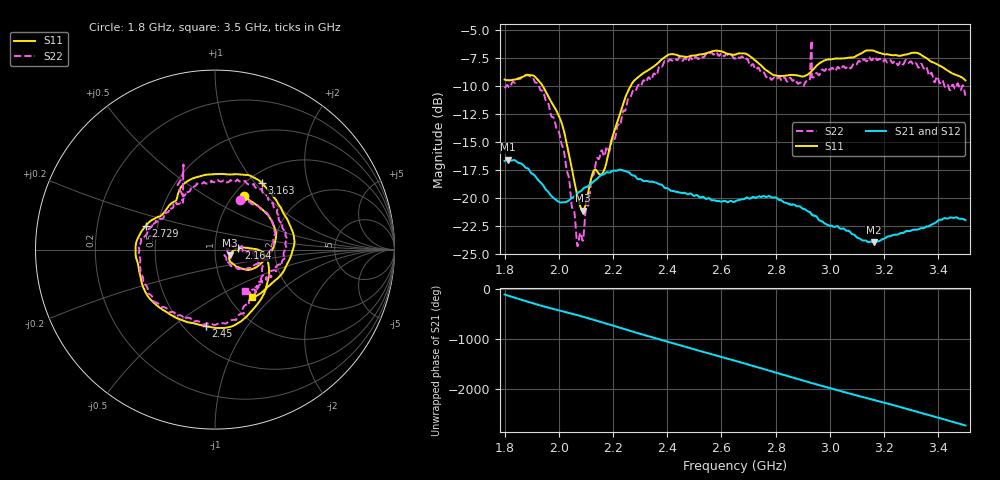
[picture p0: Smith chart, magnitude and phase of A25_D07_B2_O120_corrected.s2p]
! Created with skrf 1.9.0 (http://scikit-rf.org).
# Hz S RI R 50.0
!freq ReS11 ImS11 ReS21 ImS21 ReS12 ImS12 ReS22 ImS22
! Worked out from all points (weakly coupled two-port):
!   1601 points, 1.8 GHz to 3.5 GHz, reference 50 ohm
!   highest |S21| = -16.58 dB at 1.812 GHz (marker M1); lowest = -24.0 dB at 3.162 GHz (marker M2)
!   lowest |S11| = -21.1 dB at 2.089 GHz (marker M3), VSWR 1.19, Z = 58.7 - j3.85 ohm
!   |S11| at or under -10 dB: 1.941 GHz to 2.265 GHz (323.6 MHz wide, 15.4 % of centre)
!   |S22| runs from -24.3 to -5.9 dB; largest |S21 - S12| = 0.0027
!   S11 on the Smith chart (normalised r, x): 1.8 GHz: 1.12, +0.75; 2.164 GHz: 1.30, +0.02; 2.45 GHz: 0.63, -0.66; 2.729 GHz: 0.43, +0.14; 3.163 GHz: 1.16, +1.09; 3.5 GHz: 1.27, -0.75
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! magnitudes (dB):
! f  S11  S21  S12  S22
! 1.8 GHz  -9.4  -16.7  -16.7  -10.2
! 1.812 GHz  -9.5  -16.6  -16.6  -10.0
! 1.882 GHz  -9.0  -17.3  -17.3  -9.0
! 1.942 GHz  -10.1  -18.9  -18.9  -10.5
! 2.011 GHz  -13.4  -20.4  -20.4  -15.3
! 2.067 GHz  -19.6  -19.6  -19.6  -24.0
! 2.084 GHz  -21.0  -19.3  -19.3  -23.4
! 2.089 GHz  -21.1  -19.2  -19.2  -23.8
! 2.13 GHz  -17.5  -18.5  -18.5  -17.7
! 2.164 GHz  -17.7  -17.9  -17.8  -16.1
! 2.26 GHz  -10.2  -17.7  -17.7  -11.0
! 2.367 GHz  -7.9  -18.7  -18.7  -8.5
! 2.45 GHz  -7.3  -19.5  -19.5  -7.6
! 2.65 GHz  -7.2  -20.3  -20.3  -7.5
! 2.729 GHz  -7.8  -20.0  -20.0  -8.5
! 2.9 GHz  -9.1  -20.9  -21.0  -10.0
! 2.934 GHz  -8.6  -21.4  -21.4  -9.2
! 3.162 GHz  -6.8  -24.0  -23.9  -7.4
! 3.163 GHz  -6.8  -24.0  -23.9  -7.4
! 3.217 GHz  -7.2  -23.4  -23.4  -7.7
! 3.326 GHz  -7.1  -22.8  -22.8  -8.3
! 3.5 GHz  -9.5  -22.0  -22.0  -10.9
